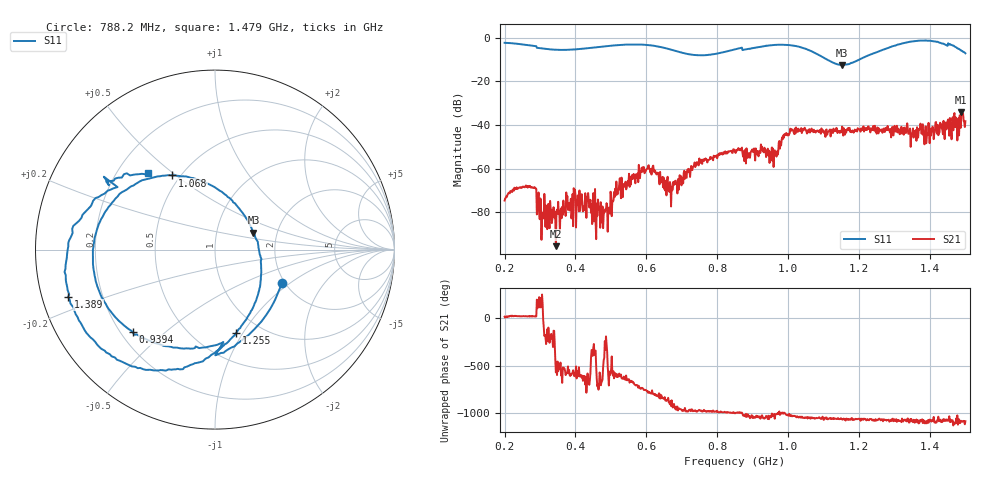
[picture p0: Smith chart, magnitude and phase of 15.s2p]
! NanoVNA-App
! Date: 2024-06-25 16:53:19
! Start: 200MHz Stop: 1.5GHz Points: 801
! S-Parameter data: F S11 S21 S12 S22
# Hz S RI R 50
!  Frequency  S11_Real  S11_Imag  S21_Real  S21_Imag  S12_Real  S12_Imag  S22_Real  S22_Imag
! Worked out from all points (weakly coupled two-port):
!   801 points, 200 MHz to 1.5 GHz, reference 50 ohm
!   highest |S21| = -34.06 dB at 1.489 GHz (marker M1); lowest = -95.6 dB at 344.6 MHz (marker M2)
!   lowest |S11| = -12.6 dB at 1.152 GHz (marker M3), VSWR 1.61, Z = 75.5 + j15.1 ohm
!   |S11| at or under -10 dB: 1.109 GHz to 1.201 GHz (92.26 MHz wide, 7.99 % of centre)
!   S12 and S22 are empty: the file has one direction only
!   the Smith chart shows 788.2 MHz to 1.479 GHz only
!   S11 on the Smith chart (normalised r, x): 788.2 MHz: 1.93, -0.86; 939.4 MHz: 0.25, -0.39; 1.068 GHz: 0.45, +0.48; 1.255 GHz: 0.77, -0.94; 1.389 GHz: 0.08, -0.16; 1.479 GHz: 0.33, +0.41
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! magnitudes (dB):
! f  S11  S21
! 200 MHz  -2.4  -74.7
! 278 MHz  -3.7  -68.7
! 304 MHz  -5.0  -92.7
! 344.6 MHz  -5.6  -95.6
! 417.8 MHz  -5.1  -71.8
! 479.5 MHz  -4.1  -81.3
! 585.1 MHz  -3.2  -61.5
! 633.9 MHz  -4.1  -62.1
! 668 MHz  -5.5  -67.3
! 788.2 MHz  -7.6  -56.2
! 850 MHz  -5.4  -52.1
! 939.4 MHz  -3.8  -53.8
! 965.4 MHz  -3.3  -52.9
! 1.012 GHz  -3.6  -42.3
! 1.068 GHz  -6.4  -42.9
! 1.152 GHz  -12.6  -40.7
! 1.255 GHz  -6.4  -43.9
! 1.284 GHz  -4.6  -41.9
! 1.389 GHz  -1.3  -48.4
! 1.479 GHz  -5.0  -39.3
! 1.489 GHz  -6.1  -34.1
! 1.5 GHz  -7.2  -38.3
